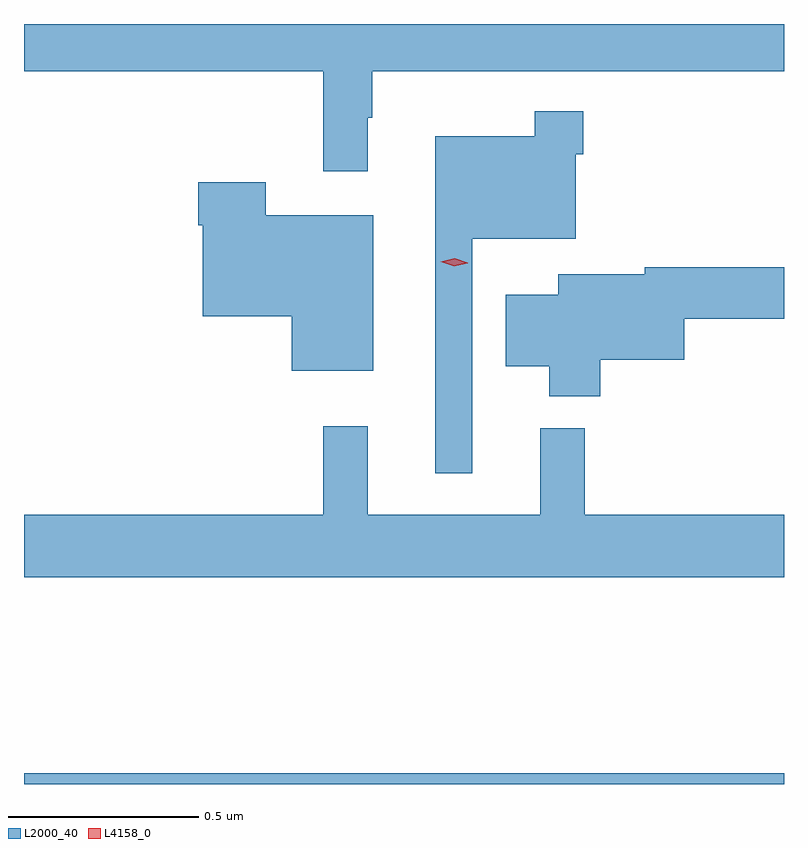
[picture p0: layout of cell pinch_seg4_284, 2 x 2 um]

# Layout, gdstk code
import gdstk
lib = gdstk.Library(unit=1e-6, precision=1e-09)
def R(c, l, rs):  # rectangles x0, y0, x1, y1
    for r in rs: c.add(gdstk.rectangle(r[:2], r[2:], *l))
def P(c, l, *ps):  # polygons
    for p in ps: c.add(gdstk.Polygon(p, *l))
L2000_40 = (2000, 40)
L4158_0 = (4158, 0)

pinch_seg4_284 = lib.new_cell('pinch_seg4_284')
R(pinch_seg4_284, L2000_40, [(938.544,813.592,940.544,813.62)])
P(pinch_seg4_284, L2000_40, [(939.448,815.345),(939.46,815.345),(939.46,815.468),(940.544,815.468),(940.544,815.592),(938.544,815.592),(938.544,815.468),(939.331,815.468),(939.331,815.205),(939.448,815.205)],
  [(939.723,815.027),(939.996,815.027),(939.996,815.249),(940.016,815.249),(940.016,815.362),(939.888,815.362),(939.888,815.296),(939.626,815.296),(939.626,814.41),(939.723,814.41)],
  [(939.463,815.089),(939.18,815.089),(939.18,815.176),(939.002,815.176),(939.002,815.063),(939.014,815.063),(939.014,814.823),(939.248,814.823),(939.248,814.679),(939.463,814.679)],
  [(940.061,814.709),(940.282,814.709),(940.282,814.816),(940.544,814.816),(940.544,814.952),(940.178,814.952),(940.178,814.933),(939.95,814.933),(939.95,814.879),(939.812,814.879),(939.812,814.691),(939.926,814.691),(939.926,814.613),(940.061,814.613)],
  [(940.544,814.3),(940.019,814.3),(940.019,814.528),(939.902,814.528),(939.902,814.3),(939.449,814.3),(939.449,814.534),(939.331,814.534),(939.331,814.3),(938.544,814.3),(938.544,814.136),(940.544,814.136)])
P(pinch_seg4_284, L4158_0, [(939.676,814.955),(939.641,814.966),(939.641,814.966),(939.641,814.967),(939.677,814.975),(939.712,814.964),(939.712,814.963),(939.712,814.963)])

lib.write_gds('pinch_seg4_284.gds')
